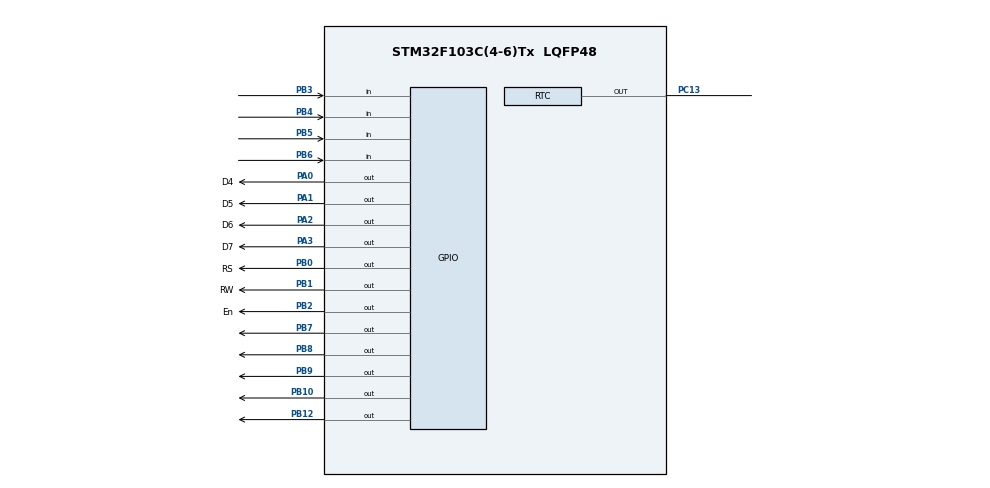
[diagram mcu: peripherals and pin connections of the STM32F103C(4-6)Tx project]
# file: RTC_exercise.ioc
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Mcu.Family=STM32F1
Mcu.Name=STM32F103C(4-6)Tx
Mcu.Package=LQFP48
NVIC.PriorityGroup=NVIC_PRIORITYGROUP_4
NVIC.RTC_Alarm_IRQn=true\:0\:0\:false\:false\:true\:true\:true\:true
PA0-WKUP.GPIO_Label=D4
PA0-WKUP.Signal=GPIO_Output
PA1.GPIO_Label=D5
PA1.Signal=GPIO_Output
PA2.GPIO_Label=D6
PA2.Signal=GPIO_Output
PA3.GPIO_Label=D7
PA3.Signal=GPIO_Output
PB0.GPIO_Label=RS
PB0.Signal=GPIO_Output
PB1.GPIO_Label=RW
PB1.Signal=GPIO_Output
PB10.PinState=GPIO_PIN_SET
PB10.Signal=GPIO_Output
PB12.Signal=GPIO_Output
PB2.GPIO_Label=En
PB2.Signal=GPIO_Output
PB3.GPIO_PuPd=GPIO_PULLUP
PB3.Signal=GPIO_Input
PB4.GPIO_PuPd=GPIO_PULLUP
PB4.Signal=GPIO_Input
PB5.GPIO_PuPd=GPIO_PULLUP
PB5.Signal=GPIO_Input
PB6.GPIO_PuPd=GPIO_PULLUP
PB6.Signal=GPIO_Input
PB7.PinState=GPIO_PIN_SET
PB7.Signal=GPIO_Output
PB8.PinState=GPIO_PIN_SET
PB8.Signal=GPIO_Output
PB9.PinState=GPIO_PIN_SET
PB9.Signal=GPIO_Output
PC13-TAMPER-RTC.Mode=RTC OUT
PC13-TAMPER-RTC.Signal=RTC_OUT
ProjectManager.HeapSize=0x200
ProjectManager.StackSize=0x400
ProjectManager.TargetToolchain=STM32CubeIDE
RCC.APB1Freq_Value=8000000
RCC.APB2Freq_Value=8000000
RTC.Date=30
RTC.Hours=1
RTC.Hours_A-RTC\ OUT=1
RTC.Month=RTC_MONTH_NOVEMBER
RTC.Seconds_A-RTC\ OUT=30
RTC.WeekDay=RTC_WEEKDAY_THURSDAY
RTC.Year=23
VP_RTC_VS_RTC_Activate.Mode=RTC_Enabled
VP_RTC_VS_RTC_Calendar.Mode=RTC_Calendar
board=custom

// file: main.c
/* USER CODE BEGIN Header */
/**
  ******************************************************************************
  * @file           : main.c
  * @brief          : Main program body
  ******************************************************************************
  * @attention
  *
  * Copyright (c) 2023 STMicroelectronics.
  * All rights reserved.
  *
  * This software is licensed under terms that can be found in the LICENSE file
  * in the root directory of this software component.
  * If no LICENSE file comes with this software, it is provided AS-IS.
  *
  ******************************************************************************
  */
/* USER CODE END Header */
#include "main.h"
#include "stdio.h"
/* USER CODE BEGIN Includes */
void lcd_init(void);
void send_command(uint8_t data);
void send_Idata(uint8_t data);
void send_data(uint8_t data);
void lcd_puts(uint8_t *str);
void lcd_clear(void);
void lcd_gotoxy(uint8_t x, uint8_t y);
/* USER CODE END Includes */

RTC_HandleTypeDef hrtc;

/* USER CODE BEGIN PV */
RTC_TimeTypeDef time1={0};
RTC_AlarmTypeDef alarm1={0};
char buffer_1[30];
int array[12]={0,0,0,0,0,0,0,0,0,0,0,0};
int ind=0;
int c=300;
int c2=5;
/* USER CODE END PV */

void SystemClock_Config(void);
static void MX_GPIO_Init(void);
static void MX_RTC_Init(void);

/* USER CODE BEGIN 0 */
void lcd_init(void)
{
  HAL_Delay(2);
  send_command(0x02);
  send_command(0x28);
  send_command(0x0F);
}

void send_command(uint8_t data)
{
	HAL_Delay(2);
	HAL_GPIO_WritePin(GPIOB,GPIO_PIN_0,GPIO_PIN_RESET);
	HAL_GPIO_WritePin(GPIOB,GPIO_PIN_1,GPIO_PIN_RESET);

	send_Idata(data >>4);
	send_Idata(data);

}

void send_Idata(uint8_t data)
{
	HAL_Delay(10);
	int temp[4];

	for (int i=0; i<4;i++)
	{

		temp[i]=data%2;
		data=data>>1;

	}

	HAL_GPIO_WritePin(GPIOA,GPIO_PIN_0,temp[0]);
	HAL_GPIO_WritePin(GPIOA,GPIO_PIN_1,temp[1]);
	HAL_GPIO_WritePin(GPIOA,GPIO_PIN_2,temp[2]);
	HAL_GPIO_WritePin(GPIOA,GPIO_PIN_3,temp[3]);

	HAL_GPIO_WritePin(GPIOB,GPIO_PIN_2,GPIO_PIN_SET);
	HAL_Delay(2);
	HAL_GPIO_WritePin(GPIOB,GPIO_PIN_2,GPIO_PIN_RESET);

}

void send_data(uint8_t data)
{
	HAL_Delay(2);
	HAL_GPIO_WritePin(GPIOB,GPIO_PIN_0,GPIO_PIN_SET);
	HAL_GPIO_WritePin(GPIOB,GPIO_PIN_1,GPIO_PIN_RESET);

	send_Idata(data >>4);

	send_Idata(data);

}

void lcd_puts(uint8_t *str)
{
  HAL_Delay(2);
  while(*str !=0x00)
  {
	  send_data(*str);
    str++;
  }
}

void lcd_clear(void)
{
  HAL_Delay(1);
  send_command(0x01);

}

void lcd_gotoxy(uint8_t x, uint8_t y)
{
  HAL_Delay(1);

    switch(y){
    case 0:
      send_command( 0x80 + x );
    break;
    case 1:
      send_command( 0xC0 + x );
      break;

  }
}

/* USER CODE END 0 */

int main(void)
{

  /* MCU Configuration--------------------------------------------------------*/

  /* Reset of all peripherals, Initializes the Flash interface and the Systick. */
  HAL_Init();

  /* Configure the system clock */
  SystemClock_Config();

  /* Initialize all configured peripherals */
  MX_GPIO_Init();
  MX_RTC_Init();
  /* USER CODE BEGIN 2 */
  lcd_init();

  /* USER CODE END 2 */

  /* Infinite loop */
  while (1)
  {

    /* USER CODE BEGIN 3 */
	      HAL_GPIO_WritePin(GPIOB, GPIO_PIN_10, GPIO_PIN_RESET);

	 	 HAL_Delay(c);
	 	  if(HAL_GPIO_ReadPin(GPIOB, GPIO_PIN_3)==0){
	 		  HAL_GPIO_WritePin(GPIOB, GPIO_PIN_10, GPIO_PIN_SET);
	 		  while(ind<12){

	 			  HAL_GPIO_WritePin(GPIOB, GPIO_PIN_7, GPIO_PIN_RESET);
	 			 HAL_Delay(c2);
	 			  if(HAL_GPIO_ReadPin(GPIOB, GPIO_PIN_3)==0){
	 				  array[ind]=7;
	 				  ind++;
	 				 HAL_Delay(c);
	 			  }
	 			  if(HAL_GPIO_ReadPin(GPIOB, GPIO_PIN_4)==0){
	 				 array[ind]=4;
	 				  ind++;
	 				 HAL_Delay(c);
	 			  }
	 			  if(HAL_GPIO_ReadPin(GPIOB, GPIO_PIN_5)==0){
	 				 array[ind]=1;
	 				  ind++;
	 				 HAL_Delay(c);
	 			  }
	 			  HAL_GPIO_WritePin(GPIOB, GPIO_PIN_7, GPIO_PIN_SET);

	 			  HAL_GPIO_WritePin(GPIOB, GPIO_PIN_8, GPIO_PIN_RESET);
	 			 HAL_Delay(c2);
	 			  if(HAL_GPIO_ReadPin(GPIOB, GPIO_PIN_3)==0){
	 				 array[ind]=8;
	 				  ind++;
	 				 HAL_Delay(c);
	 			  }
	 			  if(HAL_GPIO_ReadPin(GPIOB, GPIO_PIN_4)==0){
	 				 array[ind]=5;
	 				  ind++;
	 				 HAL_Delay(c);
	 			  }
	 			  if(HAL_GPIO_ReadPin(GPIOB, GPIO_PIN_5)==0){
	 				 array[ind]=2;
	 				  ind++;
	 			  }
	 			  if(HAL_GPIO_ReadPin(GPIOB, GPIO_PIN_6)==0){
	 				 array[ind]=0;
	 				  ind++;
	 				 HAL_Delay(c);
	 			  }
	 			  HAL_GPIO_WritePin(GPIOB, GPIO_PIN_8, GPIO_PIN_SET);

	 			  HAL_GPIO_WritePin(GPIOB, GPIO_PIN_9, GPIO_PIN_RESET);
	 			 HAL_Delay(c2);
	 			  if(HAL_GPIO_ReadPin(GPIOB, GPIO_PIN_3)==0){
	 				 array[ind]=9;
	 				  ind++;
	 				 HAL_Delay(c);
	 			  }
	 			  if(HAL_GPIO_ReadPin(GPIOB, GPIO_PIN_4)==0){
	 				 array[ind]=6;
	 				  ind++;
	 				 HAL_Delay(c);
	 			  }
	 			  if(HAL_GPIO_ReadPin(GPIOB, GPIO_PIN_5)==0){
	 				 array[ind]=3;
	 				  ind++;
	 				 HAL_Delay(c);
	 			  }
	 			  HAL_GPIO_WritePin(GPIOB, GPIO_PIN_9, GPIO_PIN_SET);
	 		  }
	 		         time1.Hours=(array[0]*10)+array[1];
	 			 	 time1.Minutes=(array[2]*10)+array[3];
	 			 	 time1.Seconds=(array[4]*10)+array[5];
	 			 	 HAL_RTC_SetTime(&hrtc, &time1,RTC_FORMAT_BCD);
	 			 	 alarm1.AlarmTime.Hours=(array[6]*10)+array[7];
	 			 	 alarm1.AlarmTime.Minutes=(array[8]*10)+array[9];
	 			 	 alarm1.AlarmTime.Seconds=(array[10]*10)+array[11];
	 			     HAL_RTC_SetAlarm(&hrtc, &alarm1, RTC_FORMAT_BCD);
	 	  }

	 HAL_RTC_GetTime(&hrtc,&time1,RTC_FORMAT_BCD);
	 // HAL_RTC_GetDate(&hrtc,&,RTC_FORMAT_BCD);
	  HAL_RTC_GetAlarm(&hrtc, &alarm1, RTC_ALARM_A, RTC_FORMAT_BCD);
	  sprintf(buffer_1,"Time:%02u:%02u:%02u",time1.Hours,time1.Minutes,time1.Seconds);
	  lcd_gotoxy(0, 0);
	  lcd_puts((uint8_t *) buffer_1);
	  sprintf(buffer_1,"Alarm:%02u:%02u:%02u",alarm1.AlarmTime.Hours,alarm1.AlarmTime.Minutes,alarm1.AlarmTime.Seconds);
	  lcd_gotoxy(0, 1);
	  lcd_puts((uint8_t *) buffer_1);
	  HAL_Delay(200);
  }
  /* USER CODE END 3 */
}

void SystemClock_Config(void)
{
  RCC_OscInitTypeDef RCC_OscInitStruct = {0};
  RCC_ClkInitTypeDef RCC_ClkInitStruct = {0};
  RCC_PeriphCLKInitTypeDef PeriphClkInit = {0};

  /** Initializes the RCC Oscillators according to the specified parameters
  * in the RCC_OscInitTypeDef structure.
  */
  RCC_OscInitStruct.OscillatorType = RCC_OSCILLATORTYPE_HSI|RCC_OSCILLATORTYPE_LSI;
  RCC_OscInitStruct.HSIState = RCC_HSI_ON;
  RCC_OscInitStruct.HSICalibrationValue = RCC_HSICALIBRATION_DEFAULT;
  RCC_OscInitStruct.LSIState = RCC_LSI_ON;
  RCC_OscInitStruct.PLL.PLLState = RCC_PLL_NONE;
  if (HAL_RCC_OscConfig(&RCC_OscInitStruct) != HAL_OK)
  {
    Error_Handler();
  }

  /** Initializes the CPU, AHB and APB buses clocks
  */
  RCC_ClkInitStruct.ClockType = RCC_CLOCKTYPE_HCLK|RCC_CLOCKTYPE_SYSCLK
                              |RCC_CLOCKTYPE_PCLK1|RCC_CLOCKTYPE_PCLK2;
  RCC_ClkInitStruct.SYSCLKSource = RCC_SYSCLKSOURCE_HSI;
  RCC_ClkInitStruct.AHBCLKDivider = RCC_SYSCLK_DIV1;
  RCC_ClkInitStruct.APB1CLKDivider = RCC_HCLK_DIV1;
  RCC_ClkInitStruct.APB2CLKDivider = RCC_HCLK_DIV1;

  if (HAL_RCC_ClockConfig(&RCC_ClkInitStruct, FLASH_LATENCY_0) != HAL_OK)
  {
    Error_Handler();
  }
  PeriphClkInit.PeriphClockSelection = RCC_PERIPHCLK_RTC;
  PeriphClkInit.RTCClockSelection = RCC_RTCCLKSOURCE_LSI;
  if (HAL_RCCEx_PeriphCLKConfig(&PeriphClkInit) != HAL_OK)
  {
    Error_Handler();
  }
}

static void MX_RTC_Init(void)
{

  RTC_TimeTypeDef sTime = {0};
  RTC_DateTypeDef DateToUpdate = {0};
  RTC_AlarmTypeDef sAlarm = {0};

  /** Initialize RTC Only
  */
  hrtc.Instance = RTC;
  hrtc.Init.AsynchPrediv = RTC_AUTO_1_SECOND;
  hrtc.Init.OutPut = RTC_OUTPUTSOURCE_ALARM;
  if (HAL_RTC_Init(&hrtc) != HAL_OK)
  {
    Error_Handler();
  }

  /** Initialize RTC and set the Time and Date
  */
  sTime.Hours = 0x1;
  sTime.Minutes = 0x0;
  sTime.Seconds = 0x0;

  if (HAL_RTC_SetTime(&hrtc, &sTime, RTC_FORMAT_BCD) != HAL_OK)
  {
    Error_Handler();
  }
  DateToUpdate.WeekDay = RTC_WEEKDAY_THURSDAY;
  DateToUpdate.Month = RTC_MONTH_NOVEMBER;
  DateToUpdate.Date = 0x30;
  DateToUpdate.Year = 0x23;

  if (HAL_RTC_SetDate(&hrtc, &DateToUpdate, RTC_FORMAT_BCD) != HAL_OK)
  {
    Error_Handler();
  }

  /** Enable the Alarm A
  */
  sAlarm.AlarmTime.Hours = 0x1;
  sAlarm.AlarmTime.Minutes = 0x0;
  sAlarm.AlarmTime.Seconds = 0x30;
  sAlarm.Alarm = RTC_ALARM_A;
  if (HAL_RTC_SetAlarm_IT(&hrtc, &sAlarm, RTC_FORMAT_BCD) != HAL_OK)
  {
    Error_Handler();
  }

}

static void MX_GPIO_Init(void)
{
  GPIO_InitTypeDef GPIO_InitStruct = {0};

  /* GPIO Ports Clock Enable */
  __HAL_RCC_GPIOC_CLK_ENABLE();
  __HAL_RCC_GPIOA_CLK_ENABLE();
  __HAL_RCC_GPIOB_CLK_ENABLE();

  /*Configure GPIO pin Output Level */
  HAL_GPIO_WritePin(GPIOA, D4_Pin|D5_Pin|D6_Pin|D7_Pin, GPIO_PIN_RESET);

  /*Configure GPIO pin Output Level */
  HAL_GPIO_WritePin(GPIOB, RS_Pin|RW_Pin|En_Pin|GPIO_PIN_12, GPIO_PIN_RESET);

  /*Configure GPIO pin Output Level */
  HAL_GPIO_WritePin(GPIOB, GPIO_PIN_10|GPIO_PIN_7|GPIO_PIN_8|GPIO_PIN_9, GPIO_PIN_SET);

  /*Configure GPIO pins : D4_Pin D5_Pin D6_Pin D7_Pin */
  GPIO_InitStruct.Pin = D4_Pin|D5_Pin|D6_Pin|D7_Pin;
  GPIO_InitStruct.Mode = GPIO_MODE_OUTPUT_PP;
  GPIO_InitStruct.Pull = GPIO_NOPULL;
  GPIO_InitStruct.Speed = GPIO_SPEED_FREQ_LOW;
  HAL_GPIO_Init(GPIOA, &GPIO_InitStruct);

  /*Configure GPIO pins : RS_Pin RW_Pin En_Pin PB10
                           PB12 PB7 PB8 PB9 */
  GPIO_InitStruct.Pin = RS_Pin|RW_Pin|En_Pin|GPIO_PIN_10
                          |GPIO_PIN_12|GPIO_PIN_7|GPIO_PIN_8|GPIO_PIN_9;
  GPIO_InitStruct.Mode = GPIO_MODE_OUTPUT_PP;
  GPIO_InitStruct.Pull = GPIO_NOPULL;
  GPIO_InitStruct.Speed = GPIO_SPEED_FREQ_LOW;
  HAL_GPIO_Init(GPIOB, &GPIO_InitStruct);

  /*Configure GPIO pins : PB3 PB4 PB5 PB6 */
  GPIO_InitStruct.Pin = GPIO_PIN_3|GPIO_PIN_4|GPIO_PIN_5|GPIO_PIN_6;
  GPIO_InitStruct.Mode = GPIO_MODE_INPUT;
  GPIO_InitStruct.Pull = GPIO_PULLUP;
  HAL_GPIO_Init(GPIOB, &GPIO_InitStruct);

}

/* USER CODE BEGIN 4 */
void HAL_RTC_AlarmAEventCallback(RTC_HandleTypeDef *hrtc){
	UNUSED(hrtc);
	HAL_GPIO_WritePin(GPIOB, GPIO_PIN_12,GPIO_PIN_SET);
}
/* USER CODE END 4 */

void Error_Handler(void)
{
  __disable_irq();
  while (1)
  {
  }
}
